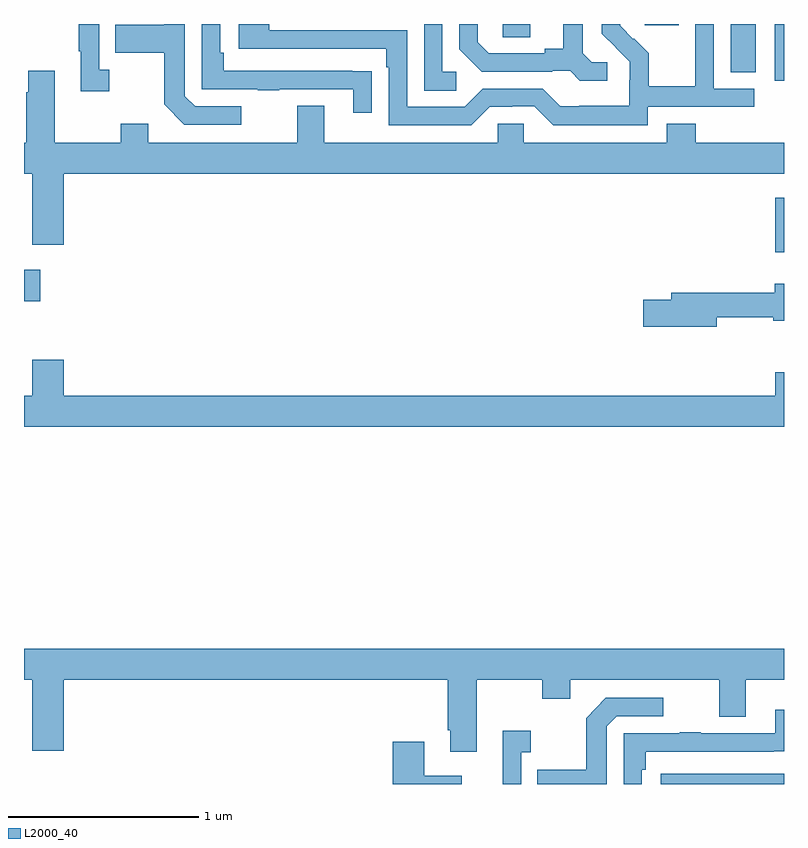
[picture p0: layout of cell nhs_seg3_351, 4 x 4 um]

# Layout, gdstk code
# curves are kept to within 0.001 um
import gdstk
lib = gdstk.Library(unit=1e-6, precision=1e-09)
def R(c, l, rs):  # rectangles x0, y0, x1, y1
    for r in rs: c.add(gdstk.rectangle(r[:2], r[2:], *l))
def P(c, l, *ps):  # polygons
    for p in ps: c.add(gdstk.Polygon(p, *l))
L2000_40 = (2000, 40)

nhs_seg3_351 = lib.new_cell('nhs_seg3_351')
R(nhs_seg3_351, L2000_40, [(132.351,668.4,133,668.454), (129,670.942,129.085,671.107), (132.953,671.198,133,671.485), (132.95,672.102,133,672.4), (132.719,672.145,132.85,672.4), (131.52,672.331,131.665,672.4), (132.266,672.393,132.445,672.4)])
P(nhs_seg3_351, L2000_40, [(129.448,672.158),(129.396,672.158),(129.396,672.4),(129.288,672.4),(129.288,672.257),(129.299,672.257),(129.299,672.045),(129.448,672.045)],
  [(132.282,671.964),(132.844,671.964),(132.844,672.06),(132.63,672.06),(132.63,672.4),(132.534,672.4),(132.534,672.296),(132.532,672.296),(132.532,672.073),(132.287,672.073),(132.287,672.247),(132.21,672.324),(132.207,672.321),(132.137,672.392),(132.137,672.4),(132.042,672.4),(132.042,672.35),(132.188,672.202),(132.188,672.105),(132.186,672.105),(132.186,671.971),(131.923,671.971),(131.923,671.967),(131.823,671.967),(131.73,672.06),(131.415,672.06),(131.319,671.964),(131.016,671.964),(131.016,672.366),(130.292,672.366),(130.292,672.4),(130.131,672.4),(130.131,672.27),(130.907,672.27),(130.907,672.173),(130.92,672.173),(130.92,671.868),(131.355,671.868),(131.451,671.964),(131.57,671.964),(131.57,671.967),(131.685,671.967),(131.785,671.867),(132.282,671.867)],
  [(132.07,672.198),(131.988,672.198),(131.941,672.245),(131.941,672.4),(131.837,672.4),(131.837,672.269),(131.741,672.269),(131.741,672.246),(131.446,672.246),(131.389,672.303),(131.389,672.4),(131.292,672.4),(131.292,672.266),(131.408,672.15),(131.78,672.15),(131.78,672.153),(131.874,672.153),(131.926,672.101),(132.07,672.101)],
  [(130.829,672.152),(130.727,672.152),(130.727,672.153),(130.052,672.153),(130.052,672.25),(130.032,672.25),(130.032,672.4),(129.936,672.4),(129.936,672.057),(130.231,672.057),(130.231,672.052),(130.343,672.052),(130.343,672.057),(130.733,672.057),(130.733,671.934),(130.829,671.934)],
  [(130.144,671.967),(129.9,671.967),(129.846,672.021),(129.846,672.4),(129.738,672.4),(129.738,672.397),(129.481,672.397),(129.481,672.25),(129.738,672.25),(129.738,671.977),(129.843,671.871),(130.144,671.871)],
  [(131.275,672.15),(131.202,672.15),(131.202,672.4),(131.106,672.4),(131.106,672.049),(131.275,672.049)],
  [(129.208,671.612),(133,671.612),(133,671.776),(132.536,671.776),(132.536,671.875),(132.383,671.875),(132.383,671.776),(131.631,671.776),(131.631,671.874),(131.493,671.874),(131.493,671.776),(130.579,671.776),(130.579,671.971),(130.439,671.971),(130.439,671.776),(129.655,671.776),(129.655,671.875),(129.508,671.875),(129.508,671.776),(129.163,671.776),(129.163,672.154),(129.023,672.154),(129.023,672.041),(129.011,672.041),(129.011,671.776),(129,671.776),(129,671.612),(129.044,671.612),(129.044,671.238),(129.208,671.238)],
  [(132.646,670.857),(132.943,670.857),(132.943,670.838),(133,670.838),(133,671.032),(132.95,671.032),(132.95,670.985),(132.407,670.985),(132.407,670.949),(132.258,670.949),(132.258,670.807),(132.646,670.807)],
  [(133,670.568),(132.953,670.568),(132.953,670.444),(129.208,670.444),(129.208,670.633),(129.044,670.633),(129.044,670.444),(129,670.444),(129,670.28),(133,670.28)],
  [(131.383,668.948),(131.728,668.948),(131.728,668.849),(131.875,668.849),(131.875,668.948),(132.659,668.948),(132.659,668.754),(132.799,668.754),(132.799,668.948),(133,668.948),(133,669.112),(129,669.112),(129,668.948),(129.044,668.948),(129.044,668.574),(129.208,668.574),(129.208,668.948),(131.231,668.948),(131.231,668.683),(131.243,668.683),(131.243,668.571),(131.383,668.571)],
  [(132.066,668.703),(132.12,668.757),(132.364,668.757),(132.364,668.853),(132.063,668.853),(131.958,668.747),(131.958,668.475),(131.701,668.475),(131.701,668.4),(132.066,668.4)],
  [(132.252,668.474),(132.272,668.474),(132.272,668.571),(132.947,668.571),(132.947,668.572),(133,668.572),(133,668.791),(132.953,668.791),(132.953,668.667),(132.563,668.667),(132.563,668.672),(132.451,668.672),(132.451,668.667),(132.156,668.667),(132.156,668.4),(132.252,668.4)],
  [(131.616,668.567),(131.668,668.567),(131.668,668.68),(131.519,668.68),(131.519,668.4),(131.616,668.4)],
  [(131.305,668.443),(131.107,668.443),(131.107,668.623),(130.94,668.623),(130.94,668.4),(131.305,668.4)])

lib.write_gds('nhs_seg3_351.gds')
